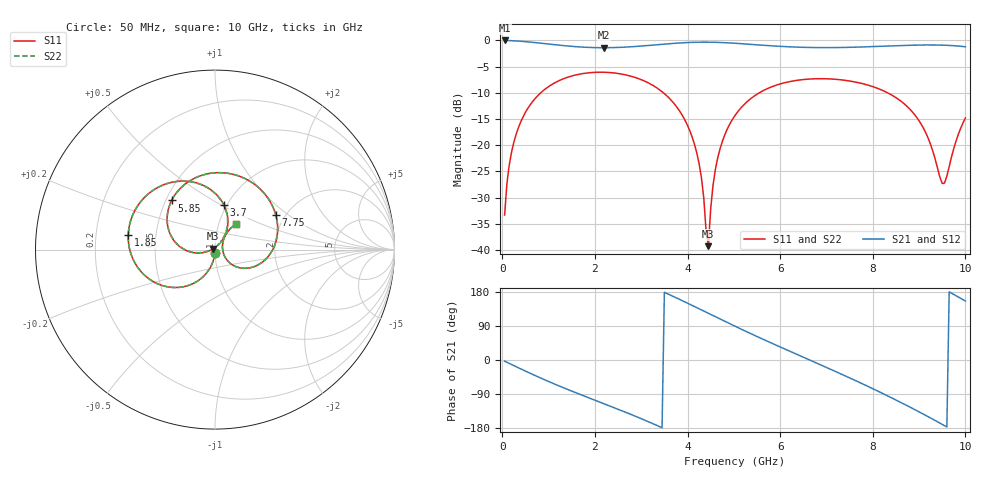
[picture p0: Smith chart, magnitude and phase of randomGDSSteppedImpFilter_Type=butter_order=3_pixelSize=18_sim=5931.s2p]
! freq	dB(S11)	phase(S11)	dB(S12)	phase(S12)
!  dB(S21)	phase(S21)	dB(S22)	phase(S22)
!S-par simulation data
#  GHz  S  DB  R 50
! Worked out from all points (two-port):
!   200 points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, 50 MHz to 10 GHz, reference 50 ohm
!   highest |S21| = 0.00 dB at 50 MHz (marker M1); lowest = -1.4 dB at 2.2 GHz (marker M2)
!   |S21| within 3 dB of the highest: start of sweep to end of sweep
!   lowest |S11| = -39.3 dB at 4.45 GHz (marker M3), VSWR 1.02, Z = 49 + j0.505 ohm
!   |S11| at or under -10 dB: start of sweep to 830.4 MHz; 3.479 GHz to 5.549 GHz (2.07 GHz wide, 45.9 % of centre); 8.32 GHz to end of sweep
!   |S22| runs from -37.8 to -6.1 dB; largest |S21 - S12| = 0
!   S11 on the Smith chart (normalised r, x): 50 MHz: 1.00, -0.04; 1.85 GHz: 0.34, +0.07; 3.7 GHz: 0.97, +0.51; 5.85 GHz: 0.54, +0.34; 7.75 GHz: 1.79, +0.81; 10 GHz: 1.21, +0.35
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0.05  -33.33 -93.0  -0.00 -3.0  -0.00 -3.0  -33.33 -93.0
0.2  -21.33 -102.2  -0.05 -11.9  -0.05 -11.9  -21.33 -102.2
0.5  -13.73 -119.8  -0.23 -29.3  -0.23 -29.3  -13.73 -119.8
1.1  -8.25 -152.5  -0.79 -62.0  -0.79 -62.0  -8.25 -152.4
1.75  -6.31 175.3  -1.28 -94.2  -1.28 -94.2  -6.31 175.4
1.85  -6.20 170.6  -1.33 -98.9  -1.33 -98.9  -6.20 170.7
2.2  -6.08 154.0  -1.39 -115.6  -1.39 -115.6  -6.08 154.1
3.4  -9.45 94.5  -0.77 -175.9  -0.77 -175.9  -9.45 94.9
3.7  -11.95 78.5  -0.56 167.3  -0.56 167.3  -11.95 78.9
4.2  -21.48 53.6  -0.34 138.1  -0.34 138.1  -21.46 55.1
4.3  -26.21 52.2  -0.33 132.1  -0.33 132.1  -26.13 54.8
4.45  -39.28 151.7  -0.33 123.2  -0.33 123.2  -37.84 147.0
4.55  -27.68 -166.0  -0.35 117.2  -0.35 117.2  -27.56 -169.1
4.65  -22.49 -166.1  -0.37 111.2  -0.37 111.2  -22.45 -167.8
5.05  -14.02 174.8  -0.55 87.6  -0.55 87.6  -14.02 174.3
5.85  -8.75 131.4  -1.05 42.6  -1.05 42.6  -8.75 131.2
6.7  -7.34 86.1  -1.36 -3.4  -1.36 -3.4  -7.34 86.1
7.75  -8.19 29.5  -1.25 -61.3  -1.25 -61.3  -8.19 29.5
8.35  -10.14 -3.5  -1.06 -96.4  -1.06 -96.4  -10.14 -3.4
9.05  -16.06 -38.3  -0.88 -140.1  -0.88 -140.1  -16.07 -38.3
9.5  -27.31 -3.7  -0.90 -169.9  -0.90 -169.9  -27.40 -3.5
10  -14.81 50.3  -1.21 155.7  -1.21 155.7  -14.81 50.6
